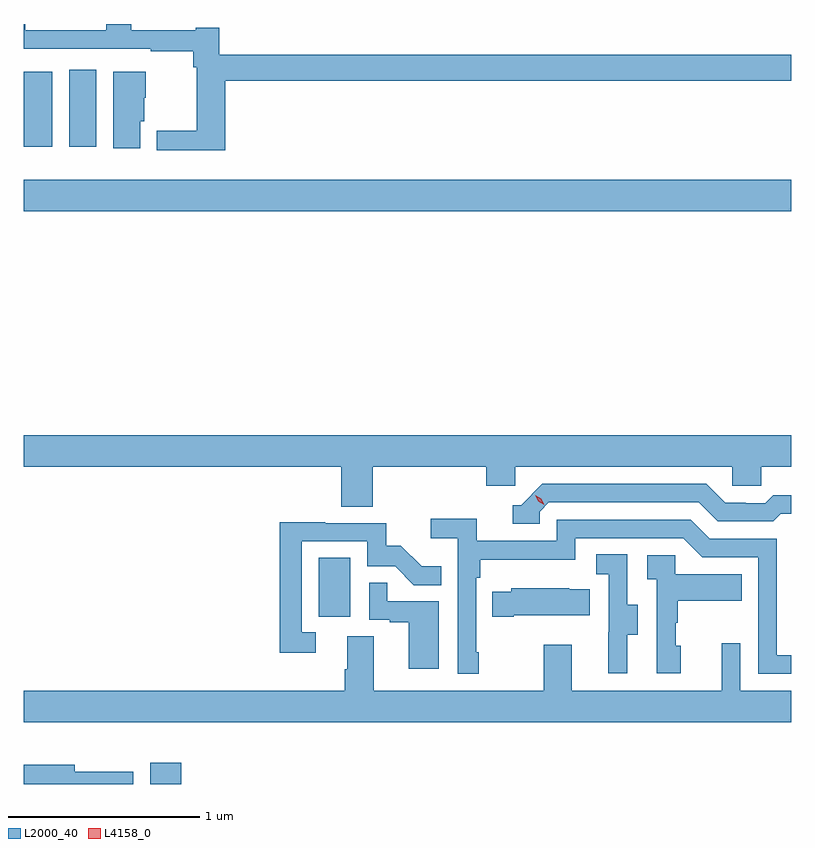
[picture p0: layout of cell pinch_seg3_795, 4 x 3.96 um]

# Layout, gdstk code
import gdstk
lib = gdstk.Library(unit=1e-6, precision=1e-09)
def R(c, l, rs):  # rectangles x0, y0, x1, y1
    for r in rs: c.add(gdstk.rectangle(r[:2], r[2:], *l))
def P(c, l, *ps):  # polygons
    for p in ps: c.add(gdstk.Polygon(p, *l))
L2000_40 = (2000, 40)
L4158_0 = (4158, 0)

pinch_seg3_795 = lib.new_cell('pinch_seg3_795')
R(pinch_seg3_795, L2000_40, [(874.397,709.919,874.558,710.029), (875.276,710.79,875.44,711.097), (873.738,712.904,877.738,713.068), (873.738,713.24,873.886,713.632), (873.974,713.24,874.117,713.641)])
P(pinch_seg3_795, L2000_40, [(874.787,713.584),(877.738,713.584),(877.738,713.72),(874.757,713.72),(874.757,713.86),(874.634,713.86),(874.634,713.847),(874.299,713.847),(874.299,713.88),(874.167,713.88),(874.167,713.847),(873.747,713.847),(873.747,713.88),(873.738,713.88),(873.738,713.751),(874.399,713.751),(874.399,713.739),(874.621,713.739),(874.621,713.654),(874.64,713.654),(874.64,713.324),(874.431,713.324),(874.431,713.222),(874.787,713.222)],
  [(874.345,713.373),(874.366,713.373),(874.366,713.496),(874.375,713.496),(874.375,713.632),(874.205,713.632),(874.205,713.232),(874.345,713.232)],
  [(875.558,711.572),(876.149,711.572),(876.149,711.474),(876.3,711.474),(876.3,711.572),(877.431,711.572),(877.431,711.474),(877.581,711.474),(877.581,711.572),(877.738,711.572),(877.738,711.736),(873.738,711.736),(873.738,711.572),(875.393,711.572),(875.393,711.364),(875.558,711.364)],
  [(876.426,711.339),(876.474,711.387),(877.257,711.387),(877.356,711.288),(877.645,711.288),(877.684,711.327),(877.738,711.327),(877.738,711.424),(877.645,711.424),(877.603,711.381),(877.5,711.381),(877.5,711.384),(877.393,711.384),(877.294,711.483),(876.441,711.483),(876.33,711.372),(876.287,711.372),(876.287,711.276),(876.426,711.276)],
  [(876.109,710.605),(876.096,710.605),(876.096,710.993),(876.116,710.993),(876.116,711.089),(876.612,711.089),(876.612,711.201),(877.176,711.201),(877.275,711.102),(877.566,711.102),(877.566,710.493),(877.738,710.493),(877.738,710.589),(877.662,710.589),(877.662,711.198),(877.312,711.198),(877.213,711.297),(876.516,711.297),(876.516,711.186),(876.098,711.186),(876.098,711.302),(875.859,711.302),(875.859,711.2),(876,711.2),(876,710.493),(876.109,710.493)],
  [(875.26,710.709),(875.187,710.709),(875.187,711.183),(875.529,711.183),(875.529,711.054),(875.673,711.054),(875.771,710.956),(875.915,710.956),(875.915,711.055),(875.811,711.055),(875.704,711.162),(875.628,711.162),(875.628,711.279),(875.309,711.279),(875.309,711.284),(875.071,711.284),(875.071,710.604),(875.26,710.604)],
  [(876.883,710.698),(876.937,710.698),(876.937,710.853),(876.882,710.853),(876.882,711.116),(876.723,711.116),(876.723,711.013),(876.786,711.013),(876.786,710.709),(876.785,710.709),(876.785,710.496),(876.883,710.496)],
  [(877.162,710.64),(877.137,710.64),(877.137,710.759),(877.147,710.759),(877.147,710.873),(877.481,710.873),(877.481,711.013),(877.134,711.013),(877.134,711.111),(876.987,711.111),(876.987,710.987),(877.038,710.987),(877.038,710.496),(877.162,710.496)],
  [(875.902,710.871),(875.633,710.871),(875.633,710.969),(875.538,710.969),(875.538,710.775),(875.645,710.775),(875.645,710.763),(875.744,710.763),(875.744,710.52),(875.902,710.52)],
  [(876.292,710.798),(876.689,710.798),(876.689,710.935),(876.581,710.935),(876.581,710.938),(876.279,710.938),(876.279,710.92),(876.181,710.92),(876.181,710.791),(876.292,710.791)],
  [(877.738,710.404),(877.473,710.404),(877.473,710.653),(877.376,710.653),(877.376,710.404),(876.595,710.404),(876.595,710.644),(876.448,710.644),(876.448,710.404),(875.563,710.404),(875.563,710.69),(875.423,710.69),(875.423,710.516),(875.411,710.516),(875.411,710.404),(873.738,710.404),(873.738,710.24),(877.738,710.24)],
  [(874.308,709.982),(874.003,709.982),(874.003,710.02),(873.738,710.02),(873.738,709.919),(874.308,709.919)])
P(pinch_seg3_795, L4158_0, [(876.451,711.374),(876.42,711.393),(876.403,711.425),(876.403,711.425),(876.403,711.425),(876.434,711.406),(876.451,711.374),(876.451,711.374)])

lib.write_gds('pinch_seg3_795.gds')
